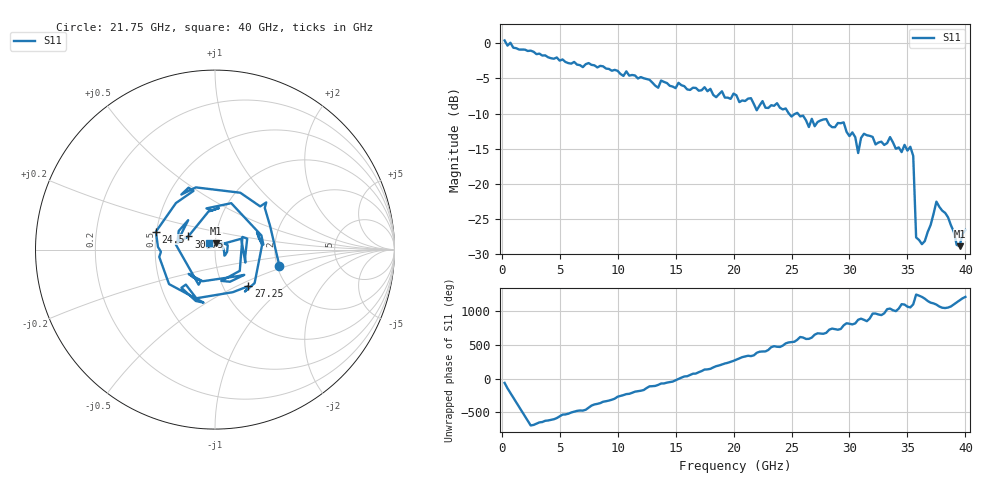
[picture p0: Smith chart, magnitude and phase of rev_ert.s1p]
!Created with skrf (http://scikit-rf.org).
# GHz S RI R 50.0
!freq ReS11 ImS11
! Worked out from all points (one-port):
!   160 points, 250 MHz to 40 GHz, reference 50 ohm
!   lowest |S11| = -28.9 dB at 39.5 GHz (marker M1), VSWR 1.07, Z = 50.4 + j3.6 ohm
!   |S11| at or under -10 dB: 24.78 GHz to 25.36 GHz (577.2 MHz wide, 2.3 % of centre); 25.55 GHz to end of sweep
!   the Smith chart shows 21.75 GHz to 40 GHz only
!   S11 on the Smith chart (normalised r, x): 21.75 GHz: 2.06, -0.43; 24.5 GHz: 0.50, +0.11; 27.25 GHz: 1.31, -0.58; 30.75 GHz: 0.73, +0.11; 40 GHz: 0.94, +0.06
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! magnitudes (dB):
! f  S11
! 250 MHz  0.4
! 5.25 GHz  -2.3
! 10.25 GHz  -4.4
! 13.5 GHz  -6.3
! 15.25 GHz  -5.6
! 20.25 GHz  -7.4
! 21.75 GHz  -8.6
! 24.5 GHz  -9.3
! 25.25 GHz  -10.1
! 26.5 GHz  -11.9
! 26.75 GHz  -10.7
! 27.25 GHz  -11.2
! 29.5 GHz  -11.2
! 30 GHz  -13.2
! 30.25 GHz  -12.7
! 30.75 GHz  -15.6
! 31.25 GHz  -12.9
! 32.25 GHz  -14.4
! 33.5 GHz  -13.3
! 34.5 GHz  -15.5
! 35.25 GHz  -14.7
! 35.5 GHz  -16.0
! 35.75 GHz  -27.6
! 36.5 GHz  -28.1
! 37.5 GHz  -22.5
! 38.5 GHz  -24.7
! 39.5 GHz  -28.9
! 40 GHz  -26.6
